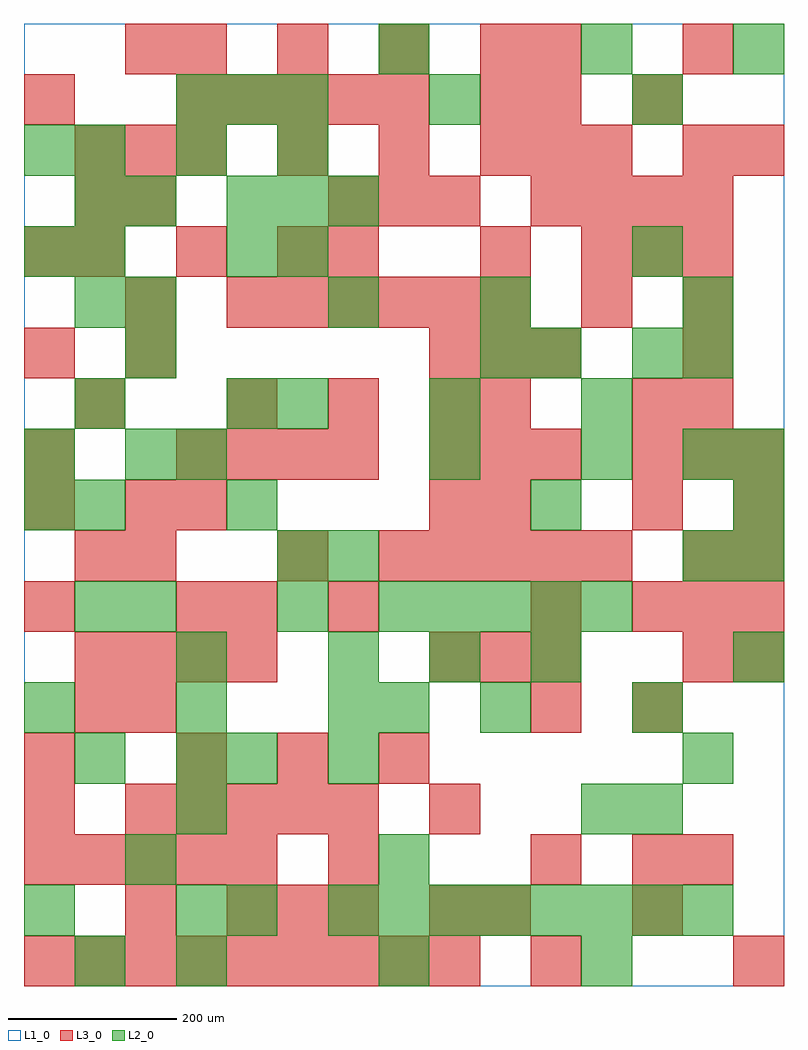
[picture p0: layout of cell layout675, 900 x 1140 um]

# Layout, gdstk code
import gdstk
lib = gdstk.Library(unit=1e-6, precision=1e-09)
def R(c, l, rs):  # rectangles x0, y0, x1, y1
    for r in rs: c.add(gdstk.rectangle(r[:2], r[2:], *l))
def A(c, l, x, y, w, h, nx, ny, dx, dy):  # array of equal rectangles
    R(c, l, [(x+i*dx, y+j*dy, x+i*dx+w, y+j*dy+h) for i in range(nx) for j in range(ny)])
L1_0 = (1, 0)
L2_0 = (2, 0)
L3_0 = (3, 0)

layout675 = lib.new_cell('layout675')
R(layout675, L1_0, [(0,0,900,1140)])
A(layout675, L2_0, 180, 0, 60, 60, 3, 1, 240, 0)
A(layout675, L2_0, 360, 60, 60, 60, 8, 1, 60, 0)
A(layout675, L2_0, 0, 300, 60, 60, 3, 1, 180, 0)
A(layout675, L2_0, 360, 360, 60, 60, 3, 1, 120, 0)
A(layout675, L2_0, 60, 420, 60, 60, 1, 4, 0, 120)
A(layout675, L2_0, 420, 420, 60, 60, 5, 1, 60, 0)
A(layout675, L2_0, 780, 480, 60, 60, 1, 3, 0, 120)
A(layout675, L2_0, 840, 480, 60, 60, 1, 3, 0, 60)
A(layout675, L2_0, 300, 660, 60, 60, 3, 1, 180, 0)
A(layout675, L2_0, 240, 900, 60, 60, 3, 1, 60, 0)
A(layout675, L2_0, 60, 960, 60, 60, 3, 1, 120, 0)
A(layout675, L2_0, 180, 1020, 60, 60, 3, 1, 60, 0)
R(layout675, L2_0, [(60,0,120,60), (0,60,60,120), (180,60,240,120), (240,60,300,120), (120,120,180,180), (420,120,480,180), (180,180,240,240), (660,180,720,240), (720,180,780,240), (60,240,120,300), (180,240,240,300), (240,240,300,300), (360,240,420,300), (780,240,840,300), (420,300,480,360), (540,300,600,360), (720,300,780,360), (180,360,240,420), (840,360,900,420), (120,420,180,480), (300,420,360,480), (300,480,360,540), (360,480,420,540), (0,540,60,600), (240,540,300,600), (600,540,660,600), (0,600,60,660), (120,600,180,660), (180,600,240,660), (480,600,540,660), (660,600,720,660), (240,660,300,720), (120,720,180,780), (540,720,600,780), (600,720,660,780), (720,720,780,780), (120,780,180,840), (360,780,420,840), (540,780,600,840), (780,780,840,840), (0,840,60,900), (60,840,120,900), (240,840,300,900), (300,840,360,900), (720,840,780,900), (60,900,120,960), (120,900,180,960), (0,960,60,1020), (480,1020,540,1080), (720,1020,780,1080), (420,1080,480,1140), (660,1080,720,1140), (840,1080,900,1140)])
A(layout675, L3_0, 0, 0, 60, 60, 9, 1, 60, 0)
A(layout675, L3_0, 240, 60, 60, 60, 3, 1, 60, 0)
A(layout675, L3_0, 0, 120, 60, 60, 5, 1, 60, 0)
A(layout675, L3_0, 120, 180, 60, 60, 5, 1, 60, 0)
A(layout675, L3_0, 180, 240, 60, 60, 3, 1, 120, 0)
A(layout675, L3_0, 60, 300, 60, 60, 1, 3, 0, 180)
A(layout675, L3_0, 60, 360, 60, 60, 4, 1, 60, 0)
A(layout675, L3_0, 480, 360, 60, 60, 3, 2, 60, 240)
A(layout675, L3_0, 720, 420, 60, 60, 3, 2, 60, 180)
A(layout675, L3_0, 420, 480, 60, 60, 5, 1, 60, 0)
A(layout675, L3_0, 0, 600, 60, 60, 1, 3, 0, 120)
A(layout675, L3_0, 180, 600, 60, 60, 4, 1, 60, 0)
A(layout675, L3_0, 240, 660, 60, 60, 3, 1, 120, 0)
A(layout675, L3_0, 540, 660, 60, 60, 1, 3, 0, 180)
A(layout675, L3_0, 780, 660, 60, 60, 1, 3, 0, 60)
A(layout675, L3_0, 480, 720, 60, 60, 3, 1, 60, 0)
A(layout675, L3_0, 240, 780, 60, 60, 6, 1, 60, 0)
A(layout675, L3_0, 60, 840, 60, 60, 3, 1, 120, 0)
A(layout675, L3_0, 660, 840, 60, 60, 3, 1, 60, 0)
A(layout675, L3_0, 360, 900, 60, 60, 3, 1, 60, 0)
A(layout675, L3_0, 600, 900, 60, 60, 4, 1, 60, 0)
A(layout675, L3_0, 60, 960, 60, 60, 3, 1, 60, 0)
A(layout675, L3_0, 300, 960, 60, 60, 3, 1, 120, 0)
A(layout675, L3_0, 600, 960, 60, 60, 1, 3, 0, 60)
A(layout675, L3_0, 180, 1020, 60, 60, 5, 1, 60, 0)
A(layout675, L3_0, 180, 1080, 60, 60, 4, 1, 120, 0)
R(layout675, L3_0, [(600,0,660,60), (840,0,900,60), (120,60,180,120), (480,60,540,120), (540,60,600,120), (720,60,780,120), (360,120,420,180), (600,120,660,180), (720,120,780,180), (780,120,840,180), (0,180,60,240), (480,180,540,240), (0,240,60,300), (120,300,180,360), (600,300,660,360), (720,300,780,360), (780,360,840,420), (840,360,900,420), (0,420,60,480), (180,420,240,480), (240,420,300,480), (360,420,420,480), (600,420,660,480), (120,480,180,540), (300,480,360,540), (780,480,840,540), (840,480,900,540), (0,540,60,600), (120,540,180,600), (180,540,240,600), (480,540,540,600), (540,540,600,600), (720,540,780,600), (840,540,900,600), (720,660,780,720), (120,720,180,780), (120,780,180,840), (660,780,720,840), (360,840,420,900), (60,900,120,960), (120,900,180,960), (660,960,720,1020), (780,960,840,1020), (840,960,900,1020), (0,1020,60,1080), (720,1020,780,1080), (120,1080,180,1140), (780,1080,840,1140)])

lib.write_gds('layout675.gds')
